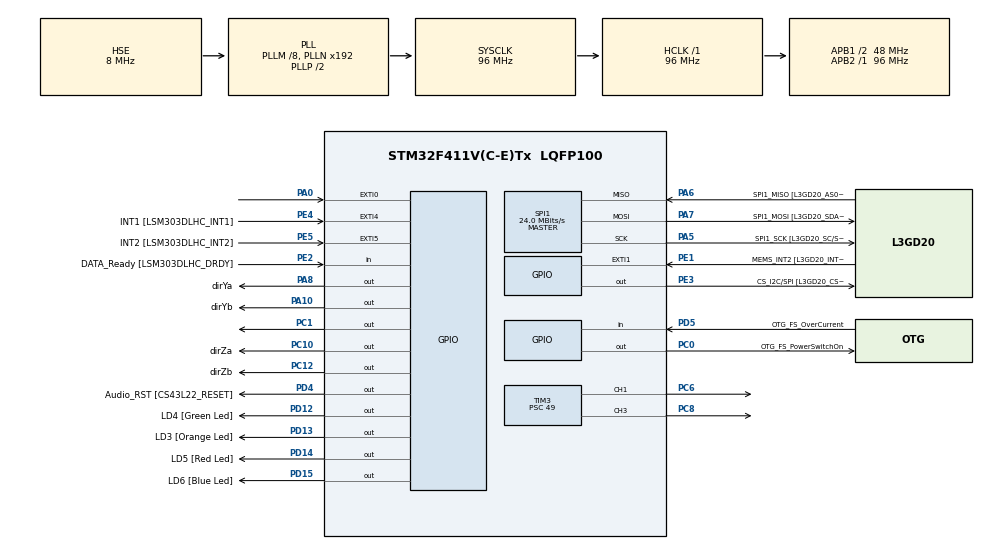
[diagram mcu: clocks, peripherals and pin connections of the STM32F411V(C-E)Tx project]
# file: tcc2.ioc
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Mcu.Family=STM32F4
Mcu.Name=STM32F411V(C-E)Tx
Mcu.Package=LQFP100
NVIC.PriorityGroup=NVIC_PRIORITYGROUP_0
NVIC.TIM2_IRQn=true\:0\:0\:false\:false\:true\:true\:true
PA0-WKUP.GPIO_ModeDefaultEXTI=GPIO_MODE_EVT_RISING
PA0-WKUP.Signal=GPXTI0
PA10.GPIO_Label=dirYb
PA10.GPIO_ModeDefaultOutputPP=GPIO_MODE_OUTPUT_PP
PA10.GPIO_Speed=GPIO_SPEED_FREQ_VERY_HIGH
PA10.Signal=GPIO_Output
PA13.GPIO_Label=SWDIO
PA13.Mode=Serial_Wire
PA13.Signal=SYS_JTMS-SWDIO
PA14.GPIO_Label=SWCLK
PA14.Mode=Serial_Wire
PA14.Signal=SYS_JTCK-SWCLK
PA5.GPIO_Label=SPI1_SCK [L3GD20_SC/SPC]
PA5.Mode=Full_Duplex_Master
PA5.Signal=SPI1_SCK
PA6.GPIO_Label=SPI1_MISO [L3GD20_AS0/SDO]
PA6.Mode=Full_Duplex_Master
PA6.Signal=SPI1_MISO
PA7.GPIO_Label=SPI1_MOSI [L3GD20_SDA/SDI/SDO]
PA7.Mode=Full_Duplex_Master
PA7.Signal=SPI1_MOSI
PA8.GPIO_Label=dirYa
PA8.GPIO_ModeDefaultOutputPP=GPIO_MODE_OUTPUT_PP
PA8.GPIO_Speed=GPIO_SPEED_FREQ_VERY_HIGH
PA8.Signal=GPIO_Output
PC0.GPIO_Label=OTG_FS_PowerSwitchOn
PC0.PinState=GPIO_PIN_SET
PC0.Signal=GPIO_Output
PC1.GPIO_Speed=GPIO_SPEED_FREQ_VERY_HIGH
PC1.Signal=GPIO_Output
PC10.GPIO_Label=dirZa
PC10.GPIO_ModeDefaultOutputPP=GPIO_MODE_OUTPUT_PP
PC10.GPIO_Speed=GPIO_SPEED_FREQ_VERY_HIGH
PC10.Signal=GPIO_Output
PC12.GPIO_Label=dirZb
PC12.GPIO_ModeDefaultOutputPP=GPIO_MODE_OUTPUT_PP
PC12.GPIO_Speed=GPIO_SPEED_FREQ_VERY_HIGH
PC12.Signal=GPIO_Output
PC14-OSC32_IN.GPIO_Label=PC14-OSC32_IN
PC14-OSC32_IN.Mode=LSE-External-Oscillator
PC14-OSC32_IN.Signal=RCC_OSC32_IN
PC15-OSC32_OUT.GPIO_Label=PC15-OSC32_OUT
PC15-OSC32_OUT.Mode=LSE-External-Oscillator
PC15-OSC32_OUT.Signal=RCC_OSC32_OUT
PC6.Signal=S_TIM3_CH1
PC8.Signal=S_TIM3_CH3
PD12.GPIO_Label=LD4 [Green Led]
PD12.GPIO_PuPd=GPIO_NOPULL
PD12.GPIO_Speed=GPIO_SPEED_FREQ_LOW
PD12.Signal=GPIO_Output
PD13.GPIO_Label=LD3 [Orange Led]
PD13.GPIO_PuPd=GPIO_NOPULL
PD13.GPIO_Speed=GPIO_SPEED_FREQ_LOW
PD13.Signal=GPIO_Output
PD14.GPIO_Label=LD5 [Red Led]
PD14.GPIO_PuPd=GPIO_NOPULL
PD14.GPIO_Speed=GPIO_SPEED_FREQ_LOW
PD14.Signal=GPIO_Output
PD15.GPIO_Label=LD6 [Blue Led]
PD15.GPIO_PuPd=GPIO_NOPULL
PD15.GPIO_Speed=GPIO_SPEED_FREQ_LOW
PD15.Signal=GPIO_Output
PD4.GPIO_Label=Audio_RST [CS43L22_RESET]
PD4.Signal=GPIO_Output
PD5.GPIO_Label=OTG_FS_OverCurrent
PD5.Signal=GPIO_Input
PE1.GPIO_Label=MEMS_INT2 [L3GD20_INT2]
PE1.GPIO_ModeDefaultEXTI=GPIO_MODE_EVT_RISING
PE1.Signal=GPXTI1
PE2.GPIO_Label=DATA_Ready [LSM303DLHC_DRDY]
PE2.Signal=GPIO_Input
PE3.GPIO_Label=CS_I2C/SPI [L3GD20_CS_I2C/SPI]
PE3.Signal=GPIO_Output
PE4.GPIO_Label=INT1 [LSM303DLHC_INT1]
PE4.GPIO_ModeDefaultEXTI=GPIO_MODE_EVT_RISING
PE4.Signal=GPXTI4
PE5.GPIO_Label=INT2 [LSM303DLHC_INT2]
PE5.GPIO_ModeDefaultEXTI=GPIO_MODE_EVT_RISING
PE5.Signal=GPXTI5
PH0\ -\ OSC_IN.GPIO_Label=PH0-OSC_IN
PH0\ -\ OSC_IN.Mode=HSE-External-Oscillator
PH0\ -\ OSC_IN.Signal=RCC_OSC_IN
PH1\ -\ OSC_OUT.GPIO_Label=PH1-OSC_OUT
PH1\ -\ OSC_OUT.Mode=HSE-External-Oscillator
PH1\ -\ OSC_OUT.Signal=RCC_OSC_OUT
ProjectManager.HeapSize=0x200
ProjectManager.StackSize=0x400
ProjectManager.TargetToolchain=STM32CubeIDE
RCC.48MHZClocksFreq_Value=48000000
RCC.AHBFreq_Value=96000000
RCC.APB1CLKDivider=RCC_HCLK_DIV2
RCC.APB1Freq_Value=48000000
RCC.APB1TimFreq_Value=96000000
RCC.APB2Freq_Value=96000000
RCC.APB2TimFreq_Value=96000000
RCC.CortexFreq_Value=96000000
RCC.EnbaleCSS=true
RCC.HCLKFreq_Value=96000000
RCC.HSE_VALUE=8000000
RCC.HSI_VALUE=16000000
RCC.PLLI2SM=5
RCC.PLLI2SN=200
RCC.PLLM=8
RCC.PLLSourceVirtual=RCC_PLLSOURCE_HSE
RCC.SYSCLKFreq_VALUE=96000000
RCC.SYSCLKSource=RCC_SYSCLKSOURCE_PLLCLK
RCC.VCOOutputFreq_Value=192000000
SH.S_TIM3_CH1.0=TIM3_CH1,PWM Generation1 CH1
SH.S_TIM3_CH3.0=TIM3_CH3,PWM Generation3 CH3
SPI1.BaudRatePrescaler=SPI_BAUDRATEPRESCALER_4
SPI1.CalculateBaudRate=24.0 MBits/s
SPI1.Direction=SPI_DIRECTION_2LINES
SPI1.Mode=SPI_MODE_MASTER
SPI1.VirtualType=VM_MASTER
TIM2.Period=988
TIM2.Prescaler=96
TIM3.Channel-PWM\ Generation1\ CH1=TIM_CHANNEL_1
TIM3.Channel-PWM\ Generation3\ CH3=TIM_CHANNEL_3
TIM3.Period=1919
TIM3.Prescaler=49
VP_TIM2_VS_ClockSourceINT.Mode=Internal
board=STM32F411E-DISCO

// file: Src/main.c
/* USER CODE BEGIN Header */
/**
  ******************************************************************************
  * @file           : main.c
  * @brief          : Main program body
  ******************************************************************************
  * @attention
  *
  * <h2><center>&copy; Copyright (c) 2019 STMicroelectronics.
  * All rights reserved.</center></h2>
  *
  * This software component is licensed by ST under Ultimate Liberty license
  * SLA0044, the "License"; You may not use this file except in compliance with
  * the License. You may obtain a copy of the License at:
  *                             www.st.com/SLA0044
  *
  ******************************************************************************
  */
/* USER CODE END Header */

#include "main.h"

/* USER CODE BEGIN Includes */
#include "L3GD20.h"
#include "stdio.h"
/* USER CODE END Includes */

SPI_HandleTypeDef hspi1;

TIM_HandleTypeDef htim2;
TIM_HandleTypeDef htim3;

/* USER CODE BEGIN PV */
uint8_t i;
uint8_t ctrl_reg_add[5] = {0x20, 0x21, 0x22, 0x23, 0x24};
uint8_t ctrl_reg_val[5] = {0xFF, 0x00, 0x8, 0x00, 0x00};

float sensitivity_250 = 114.285f;
float ydata[3]={0,0,0};
float zdata[3]={0,0,0};
uint16_t pwmY;
uint16_t pwmZ;
uint16_t motorY[2]={0,0};
uint16_t motorZ[2]={0,0};

float yhat[3];
float zhat[3];
float yhatant[3];
float zhatant[3];
float uy;
float uz;
float yy[2];
float yz[2];
float ALCyant[3];
float ALCzant[3];
float Byuy[3];
float Bzuz[3];
float Lyyy[3];
float Lzyz[3];

//COISAS PARA ALTERAR:

//sistema eixo Y
float Ay[3][3] = {{0, 1, 0}, {20.0515, 0, 0.1348}, {-20.0515, 0, 5.5058}};
float By[3]={0,-2.2887, 93.4769}; //Matriz B (eixo Y)
float Cy[2][3]={{1, 0, 0},{0, 1, 0}};
float ALCy[3][3];

//sistema eixo Z
float Az[3][3] = {{0, 1, 0}, {20.0488, 0, 0.1348}, {-20.0488, 0, 5.4894}};
float Bz[3]={0,-2.2884,93.1993};
float Cz[2][3]={{1, 0, 0},{0, 1, 0}};
float ALCz[3][3];

//Ganhos [ORIGINAL]
//float Ly[3][2]={{1.9995,0.9490},{18.5689,10.5063},{-102.7477,459.3545}};
//float Lz[3][2]={{1.9995,0.9489},{18.5690,10.4899},{-102.4052,459.4749}};
//float Ky[3] = {65.9847, 11.6463, 0.9046};
//float Kz[3] = {66.2867, 11.7091, 0.9086};

float Ky[3] = {65.9847, 11.6463, 0.90461};
float Kz[3] = {66.2867, 11.7091, 0.90864};
float Lz[3][2]={{16.37,24.2094},{91.02,513.11},{8376,61540.3}};
float Ly[3][2]={{16.37,24.2094},{91.02,513.11},{8376,61540.3}};

float dt = 0.00125;
float movmeanY[100];
float movmeanZ[100];
float meanY;
float meanZ;

int cont = 0;

/* USER CODE END PV */

void SystemClock_Config(void);
static void MX_GPIO_Init(void);
static void MX_SPI1_Init(void);
static void MX_TIM2_Init(void);
static void MX_TIM3_Init(void);
/* USER CODE BEGIN PFP */
void set_pwmY(float saida);
void set_pwmZ(float saida);
void set_dirY(float saida);
void set_dirZ(float saida);
void get_ALC();
void get_movmeanY(float value);
/* USER CODE END PFP */

/* USER CODE BEGIN 0 */
void HAL_TIM_PeriodElapsedCallback(TIM_HandleTypeDef *htim)
{
  /* Prevent unused argument(s) compilation warning */
  UNUSED(htim);
  if(htim->Instance==TIM2){
	  HAL_GPIO_TogglePin(GPIOC, GPIO_PIN_1);
	  ydata[1]=(int16_t)L3GD20_GetAngularRateY(sensitivity_250);
	  zdata[1]=(int16_t)L3GD20_GetAngularRateZ(sensitivity_250);
	  ydata[1]=ydata[1]*3.14158/180;
	  zdata[1]=zdata[1]*3.14158/180;
	  ydata[0]+=ydata[1]*dt;
	  zdata[0]+=zdata[1]*dt;

	  //Observador:
	  yy[0]=ydata[0];
	  yy[1]=ydata[1];

	  yz[0]=zdata[0];
	  yz[1]=zdata[1];

	  //(A-LC)*yhatant
	  //(A-LC)*zhatant

	  ALCyant[0] = ALCy[0][0]*yhatant[0]+ALCy[0][1]*yhatant[1]+ALCy[0][2]*yhatant[2];
	  ALCyant[1] = ALCy[1][0]*yhatant[0]+ALCy[1][1]*yhatant[1]+ALCy[1][2]*yhatant[2];
	  ALCyant[2] = ALCy[2][0]*yhatant[0]+ALCy[2][1]*yhatant[1]+ALCy[2][2]*yhatant[2];

	  ALCzant[0] = ALCz[0][0]*zhatant[0]+ALCz[0][1]*zhatant[1]+ALCz[0][2]*zhatant[2];
	  ALCzant[1] = ALCz[1][0]*zhatant[0]+ALCz[1][1]*zhatant[1]+ALCz[1][2]*zhatant[2];
	  ALCzant[2] = ALCz[2][0]*zhatant[0]+ALCz[2][1]*zhatant[1]+ALCz[2][2]*zhatant[2];

	  //By*uy;
	  //Bz*uz;
	  Byuy[0] =By[0]*uy;
	  Byuy[1] =By[1]*uy;
	  Byuy[2] =By[2]*uy;

	  Bzuz[0] =Bz[0]*uz;
	  Bzuz[1] =Bz[1]*uz;
	  Bzuz[2] =Bz[2]*uz;

	  //Ly*yy
	  //Lz*yz
	  Lyyy[0]=Ly[0][0]*yy[0]+Ly[0][1]*yy[1];
	  Lyyy[1]=Ly[1][0]*yy[0]+Ly[1][1]*yy[1];
	  Lyyy[2]=Ly[2][0]*yy[0]+Ly[2][1]*yy[1];

	  Lzyz[0]=Lz[0][0]*yz[0]+Lz[0][1]*yz[1];
	  Lzyz[1]=Lz[1][0]*yz[0]+Lz[1][1]*yz[1];
	  Lzyz[2]=Lz[2][0]*yz[0]+Lz[2][1]*yz[1];

	  //yhat = ((A-LC)*yhatant + By*uy + Ly*yy)*dt
	  //zhat = ((A-LC)*zhatant + Bz*uz + Lz*yz)*dt
	  yhat[0]+=(ALCyant[0]+Byuy[0]+Lyyy[0])*dt;
	  yhat[1]+=(ALCyant[1]+Byuy[1]+Lyyy[1])*dt;
	  yhat[2]+=(ALCyant[2]+Byuy[2]+Lyyy[2])*dt;

	  zhat[0]+=(ALCzant[0]+Bzuz[0]+Lzyz[0])*dt;
	  zhat[1]+=(ALCzant[1]+Bzuz[1]+Lzyz[1])*dt;
	  zhat[2]+=(ALCzant[2]+Bzuz[2]+Lzyz[2])*dt;

	  //Salva na amostra anterior
	  yhatant[0]=yhat[0];
	  yhatant[1]=yhat[1];
	  yhatant[2]=yhat[2];

	  zhatant[0]=zhat[0];
	  zhatant[1]=zhat[1];
	  zhatant[2]=zhat[2];

	  //Gera a saida

	  uz = -(zhat[0]*Kz[0]+zhat[1]*Kz[1]+zhat[2]*Kz[2]);
	  uy = -(yhat[0]*Ky[0]+yhat[1]*Ky[1]+yhat[2]*Ky[2]);

	  if(uy<5 & uy>-5)
	  {
		  meanY=0;
	  }else
	  {
		  meanY=uy;
	  }

	  set_pwmY(uy);
	  set_pwmZ(uz);
	  set_dirY(uy);
	  set_dirZ(uz);
	 /* if(cont>=100)
	  {

		  cont=0;
	  }else
	  {
		  cont++;
	  }*/
  }
}

void set_dirY(float saida)
{
	if(saida>0)
	{
		motorY[0]=0;
		motorY[1]=1;
	}
	else
	{
		motorY[0]=1;
		motorY[1]=0;
	}
	HAL_GPIO_WritePin(dirYa_GPIO_Port, dirYa_Pin, motorY[0]);
	HAL_GPIO_WritePin(dirYb_GPIO_Port, dirYb_Pin, motorY[1]);
}

void set_dirZ(float saida)
{
	if(saida>0)
	{
		motorZ[0]=1;
		motorZ[1]=0;
	}
	else
	{
		motorZ[0]=0;
		motorZ[1]=1;
	}
	HAL_GPIO_WritePin(dirZa_GPIO_Port, dirZa_Pin, motorZ[0]);
	HAL_GPIO_WritePin(dirZb_GPIO_Port, dirZb_Pin, motorZ[1]);
}

void get_ALC()
{
	ALCy[0][0]=Ay[0][0] - (Ly[0][0]*Cy[0][0]+Ly[0][1]*Cy[1][0]);
	ALCy[1][0]=Ay[1][0] - (Ly[1][0]*Cy[0][0]+Ly[1][1]*Cy[1][0]);
	ALCy[2][0]=Ay[2][0] - (Ly[2][0]*Cy[0][0]+Ly[2][1]*Cy[1][0]);
	ALCy[0][1]=Ay[0][1] - (Ly[0][0]*Cy[0][1]+Ly[0][1]*Cy[1][1]);
	ALCy[1][1]=Ay[1][1] - (Ly[1][0]*Cy[0][1]+Ly[1][1]*Cy[1][1]);
	ALCy[2][1]=Ay[2][1] - (Ly[2][0]*Cy[0][1]+Ly[2][1]*Cy[1][1]);
	ALCy[0][2]=Ay[0][2] - (Ly[0][0]*Cy[0][2]+Ly[0][1]*Cy[1][2]);
	ALCy[1][2]=Ay[1][2] - (Ly[1][0]*Cy[0][2]+Ly[1][1]*Cy[1][2]);
	ALCy[2][2]=Ay[2][2] - (Ly[2][0]*Cy[0][2]+Ly[2][1]*Cy[1][2]);

	ALCz[0][0]=Az[0][0] - (Lz[0][0]*Cz[0][0]+Lz[0][1]*Cz[1][0]);
	ALCz[1][0]=Az[1][0] - (Lz[1][0]*Cz[0][0]+Lz[1][1]*Cz[1][0]);
	ALCz[2][0]=Az[2][0] - (Lz[2][0]*Cz[0][0]+Lz[2][1]*Cz[1][0]);
	ALCz[0][1]=Az[0][1] - (Lz[0][0]*Cz[0][1]+Lz[0][1]*Cz[1][1]);
	ALCz[1][1]=Az[1][1] - (Lz[1][0]*Cz[0][1]+Lz[1][1]*Cz[1][1]);
	ALCz[2][1]=Az[2][1] - (Lz[2][0]*Cz[0][1]+Lz[2][1]*Cz[1][1]);
	ALCz[0][2]=Az[0][2] - (Lz[0][0]*Cz[0][2]+Lz[0][1]*Cz[1][2]);
	ALCz[1][2]=Az[1][2] - (Lz[1][0]*Cz[0][2]+Lz[1][1]*Cz[1][2]);
	ALCz[2][2]=Az[2][2] - (Lz[2][0]*Cz[0][2]+Lz[2][1]*Cz[1][2]);
}

void set_pwmY(float saida)
{
	saida=saida*8000;
	saida = (uint16_t) saida;
	if(saida>1919)
	{
		pwmY = 1919;
	}
	else
	{
		pwmY=saida;
	}
	__HAL_TIM_SET_COMPARE(&htim3,TIM_CHANNEL_1,pwmY);
}

void set_pwmZ(float saida)
{
	saida=saida*8000;
	saida = (uint16_t) saida;

	if(saida>1919)
	{
		pwmZ = 1919;
	}
	else
	{
		pwmZ=saida;
	}
	__HAL_TIM_SET_COMPARE(&htim3,TIM_CHANNEL_3,pwmZ);

}

void get_movmeanY(float value)
{
	for (int k = 1; k < 100; ++k) {
		movmeanY[k] = movmeanY[k-1];
	}
	movmeanY[0] = value;
	float sum = 0;
	for (int x = 0; x < 100; ++x) {
		sum = sum + movmeanY[x];
	}
	meanY = sum/100;
}
/* USER CODE END 0 */

int main(void)
{

  /* MCU Configuration--------------------------------------------------------*/

  /* Reset of all peripherals, Initializes the Flash interface and the Systick. */
  HAL_Init();

  /* Configure the system clock */
  SystemClock_Config();

  /* Initialize all configured peripherals */
  MX_GPIO_Init();
  MX_SPI1_Init();
  MX_TIM2_Init();
  MX_TIM3_Init();
  /* USER CODE BEGIN 2 */
  L3GD20_SetSPI(hspi1);
      for (i = 0; i < 5; ++i)
      {
    	L3GD20_Write(ctrl_reg_val[i], ctrl_reg_add[i]);
      }
     get_ALC();
     HAL_TIM_Base_Start_IT(&htim2);
     HAL_TIM_PWM_Init(&htim3);
     HAL_TIM_PWM_Start(&htim3, TIM_CHANNEL_1);
     HAL_TIM_PWM_Start(&htim3, TIM_CHANNEL_3);

  /* USER CODE END 2 */

  /* Infinite loop */
  while (1)
  {

  }
}

void SystemClock_Config(void)
{
  RCC_OscInitTypeDef RCC_OscInitStruct = {0};
  RCC_ClkInitTypeDef RCC_ClkInitStruct = {0};

  /** Configure the main internal regulator output voltage
  */
  __HAL_RCC_PWR_CLK_ENABLE();
  __HAL_PWR_VOLTAGESCALING_CONFIG(PWR_REGULATOR_VOLTAGE_SCALE1);
  /** Initializes the CPU, AHB and APB busses clocks
  */
  RCC_OscInitStruct.OscillatorType = RCC_OSCILLATORTYPE_HSE;
  RCC_OscInitStruct.HSEState = RCC_HSE_ON;
  RCC_OscInitStruct.PLL.PLLState = RCC_PLL_ON;
  RCC_OscInitStruct.PLL.PLLSource = RCC_PLLSOURCE_HSE;
  RCC_OscInitStruct.PLL.PLLM = 8;
  RCC_OscInitStruct.PLL.PLLN = 192;
  RCC_OscInitStruct.PLL.PLLP = RCC_PLLP_DIV2;
  RCC_OscInitStruct.PLL.PLLQ = 4;
  if (HAL_RCC_OscConfig(&RCC_OscInitStruct) != HAL_OK)
  {
    Error_Handler();
  }
  /** Initializes the CPU, AHB and APB busses clocks
  */
  RCC_ClkInitStruct.ClockType = RCC_CLOCKTYPE_HCLK|RCC_CLOCKTYPE_SYSCLK
                              |RCC_CLOCKTYPE_PCLK1|RCC_CLOCKTYPE_PCLK2;
  RCC_ClkInitStruct.SYSCLKSource = RCC_SYSCLKSOURCE_PLLCLK;
  RCC_ClkInitStruct.AHBCLKDivider = RCC_SYSCLK_DIV1;
  RCC_ClkInitStruct.APB1CLKDivider = RCC_HCLK_DIV2;
  RCC_ClkInitStruct.APB2CLKDivider = RCC_HCLK_DIV1;

  if (HAL_RCC_ClockConfig(&RCC_ClkInitStruct, FLASH_LATENCY_3) != HAL_OK)
  {
    Error_Handler();
  }
  /** Enables the Clock Security System
  */
  HAL_RCC_EnableCSS();
}

static void MX_SPI1_Init(void)
{

  /* SPI1 parameter configuration*/
  hspi1.Instance = SPI1;
  hspi1.Init.Mode = SPI_MODE_MASTER;
  hspi1.Init.Direction = SPI_DIRECTION_2LINES;
  hspi1.Init.DataSize = SPI_DATASIZE_8BIT;
  hspi1.Init.CLKPolarity = SPI_POLARITY_LOW;
  hspi1.Init.CLKPhase = SPI_PHASE_1EDGE;
  hspi1.Init.NSS = SPI_NSS_SOFT;
  hspi1.Init.BaudRatePrescaler = SPI_BAUDRATEPRESCALER_4;
  hspi1.Init.FirstBit = SPI_FIRSTBIT_MSB;
  hspi1.Init.TIMode = SPI_TIMODE_DISABLE;
  hspi1.Init.CRCCalculation = SPI_CRCCALCULATION_DISABLE;
  hspi1.Init.CRCPolynomial = 10;
  if (HAL_SPI_Init(&hspi1) != HAL_OK)
  {
    Error_Handler();
  }

}

static void MX_TIM2_Init(void)
{

  TIM_ClockConfigTypeDef sClockSourceConfig = {0};
  TIM_MasterConfigTypeDef sMasterConfig = {0};

  htim2.Instance = TIM2;
  htim2.Init.Prescaler = 96;
  htim2.Init.CounterMode = TIM_COUNTERMODE_UP;
  htim2.Init.Period = 1236;
  htim2.Init.ClockDivision = TIM_CLOCKDIVISION_DIV1;
  htim2.Init.AutoReloadPreload = TIM_AUTORELOAD_PRELOAD_DISABLE;
  if (HAL_TIM_Base_Init(&htim2) != HAL_OK)
  {
    Error_Handler();
  }
  sClockSourceConfig.ClockSource = TIM_CLOCKSOURCE_INTERNAL;
  if (HAL_TIM_ConfigClockSource(&htim2, &sClockSourceConfig) != HAL_OK)
  {
    Error_Handler();
  }
  sMasterConfig.MasterOutputTrigger = TIM_TRGO_RESET;
  sMasterConfig.MasterSlaveMode = TIM_MASTERSLAVEMODE_DISABLE;
  if (HAL_TIMEx_MasterConfigSynchronization(&htim2, &sMasterConfig) != HAL_OK)
  {
    Error_Handler();
  }

}

static void MX_TIM3_Init(void)
{

  TIM_MasterConfigTypeDef sMasterConfig = {0};
  TIM_OC_InitTypeDef sConfigOC = {0};

  htim3.Instance = TIM3;
  htim3.Init.Prescaler = 49;
  htim3.Init.CounterMode = TIM_COUNTERMODE_UP;
  htim3.Init.Period = 1919;
  htim3.Init.ClockDivision = TIM_CLOCKDIVISION_DIV1;
  htim3.Init.AutoReloadPreload = TIM_AUTORELOAD_PRELOAD_DISABLE;
  if (HAL_TIM_PWM_Init(&htim3) != HAL_OK)
  {
    Error_Handler();
  }
  sMasterConfig.MasterOutputTrigger = TIM_TRGO_RESET;
  sMasterConfig.MasterSlaveMode = TIM_MASTERSLAVEMODE_DISABLE;
  if (HAL_TIMEx_MasterConfigSynchronization(&htim3, &sMasterConfig) != HAL_OK)
  {
    Error_Handler();
  }
  sConfigOC.OCMode = TIM_OCMODE_PWM1;
  sConfigOC.Pulse = 0;
  sConfigOC.OCPolarity = TIM_OCPOLARITY_HIGH;
  sConfigOC.OCFastMode = TIM_OCFAST_DISABLE;
  if (HAL_TIM_PWM_ConfigChannel(&htim3, &sConfigOC, TIM_CHANNEL_1) != HAL_OK)
  {
    Error_Handler();
  }
  if (HAL_TIM_PWM_ConfigChannel(&htim3, &sConfigOC, TIM_CHANNEL_3) != HAL_OK)
  {
    Error_Handler();
  }
  HAL_TIM_MspPostInit(&htim3);

}

static void MX_GPIO_Init(void)
{
  GPIO_InitTypeDef GPIO_InitStruct = {0};

  /* GPIO Ports Clock Enable */
  __HAL_RCC_GPIOE_CLK_ENABLE();
  __HAL_RCC_GPIOC_CLK_ENABLE();
  __HAL_RCC_GPIOH_CLK_ENABLE();
  __HAL_RCC_GPIOA_CLK_ENABLE();
  __HAL_RCC_GPIOD_CLK_ENABLE();

  /*Configure GPIO pin Output Level */
  HAL_GPIO_WritePin(CS_I2C_SPI_GPIO_Port, CS_I2C_SPI_Pin, GPIO_PIN_RESET);

  /*Configure GPIO pin Output Level */
  HAL_GPIO_WritePin(OTG_FS_PowerSwitchOn_GPIO_Port, OTG_FS_PowerSwitchOn_Pin, GPIO_PIN_SET);

  /*Configure GPIO pin Output Level */
  HAL_GPIO_WritePin(GPIOC, GPIO_PIN_1|dirZa_Pin|dirZb_Pin, GPIO_PIN_RESET);

  /*Configure GPIO pin Output Level */
  HAL_GPIO_WritePin(GPIOD, LD4_Pin|LD3_Pin|LD5_Pin|LD6_Pin
                          |Audio_RST_Pin, GPIO_PIN_RESET);

  /*Configure GPIO pin Output Level */
  HAL_GPIO_WritePin(GPIOA, dirYa_Pin|dirYb_Pin, GPIO_PIN_RESET);

  /*Configure GPIO pin : DATA_Ready_Pin */
  GPIO_InitStruct.Pin = DATA_Ready_Pin;
  GPIO_InitStruct.Mode = GPIO_MODE_INPUT;
  GPIO_InitStruct.Pull = GPIO_NOPULL;
  HAL_GPIO_Init(DATA_Ready_GPIO_Port, &GPIO_InitStruct);

  /*Configure GPIO pin : CS_I2C_SPI_Pin */
  GPIO_InitStruct.Pin = CS_I2C_SPI_Pin;
  GPIO_InitStruct.Mode = GPIO_MODE_OUTPUT_PP;
  GPIO_InitStruct.Pull = GPIO_NOPULL;
  GPIO_InitStruct.Speed = GPIO_SPEED_FREQ_LOW;
  HAL_GPIO_Init(CS_I2C_SPI_GPIO_Port, &GPIO_InitStruct);

  /*Configure GPIO pins : INT1_Pin INT2_Pin MEMS_INT2_Pin */
  GPIO_InitStruct.Pin = INT1_Pin|INT2_Pin|MEMS_INT2_Pin;
  GPIO_InitStruct.Mode = GPIO_MODE_EVT_RISING;
  GPIO_InitStruct.Pull = GPIO_NOPULL;
  HAL_GPIO_Init(GPIOE, &GPIO_InitStruct);

  /*Configure GPIO pin : OTG_FS_PowerSwitchOn_Pin */
  GPIO_InitStruct.Pin = OTG_FS_PowerSwitchOn_Pin;
  GPIO_InitStruct.Mode = GPIO_MODE_OUTPUT_PP;
  GPIO_InitStruct.Pull = GPIO_NOPULL;
  GPIO_InitStruct.Speed = GPIO_SPEED_FREQ_LOW;
  HAL_GPIO_Init(OTG_FS_PowerSwitchOn_GPIO_Port, &GPIO_InitStruct);

  /*Configure GPIO pins : PC1 dirZa_Pin dirZb_Pin */
  GPIO_InitStruct.Pin = GPIO_PIN_1|dirZa_Pin|dirZb_Pin;
  GPIO_InitStruct.Mode = GPIO_MODE_OUTPUT_PP;
  GPIO_InitStruct.Pull = GPIO_NOPULL;
  GPIO_InitStruct.Speed = GPIO_SPEED_FREQ_VERY_HIGH;
  HAL_GPIO_Init(GPIOC, &GPIO_InitStruct);

  /*Configure GPIO pin : PA0 */
  GPIO_InitStruct.Pin = GPIO_PIN_0;
  GPIO_InitStruct.Mode = GPIO_MODE_EVT_RISING;
  GPIO_InitStruct.Pull = GPIO_NOPULL;
  HAL_GPIO_Init(GPIOA, &GPIO_InitStruct);

  /*Configure GPIO pins : LD4_Pin LD3_Pin LD5_Pin LD6_Pin
                           Audio_RST_Pin */
  GPIO_InitStruct.Pin = LD4_Pin|LD3_Pin|LD5_Pin|LD6_Pin
                          |Audio_RST_Pin;
  GPIO_InitStruct.Mode = GPIO_MODE_OUTPUT_PP;
  GPIO_InitStruct.Pull = GPIO_NOPULL;
  GPIO_InitStruct.Speed = GPIO_SPEED_FREQ_LOW;
  HAL_GPIO_Init(GPIOD, &GPIO_InitStruct);

  /*Configure GPIO pins : dirYa_Pin dirYb_Pin */
  GPIO_InitStruct.Pin = dirYa_Pin|dirYb_Pin;
  GPIO_InitStruct.Mode = GPIO_MODE_OUTPUT_PP;
  GPIO_InitStruct.Pull = GPIO_NOPULL;
  GPIO_InitStruct.Speed = GPIO_SPEED_FREQ_VERY_HIGH;
  HAL_GPIO_Init(GPIOA, &GPIO_InitStruct);

  /*Configure GPIO pin : OTG_FS_OverCurrent_Pin */
  GPIO_InitStruct.Pin = OTG_FS_OverCurrent_Pin;
  GPIO_InitStruct.Mode = GPIO_MODE_INPUT;
  GPIO_InitStruct.Pull = GPIO_NOPULL;
  HAL_GPIO_Init(OTG_FS_OverCurrent_GPIO_Port, &GPIO_InitStruct);

}

void Error_Handler(void)
{
}

/************************ (C) COPYRIGHT STMicroelectronics *****END OF FILE****/
